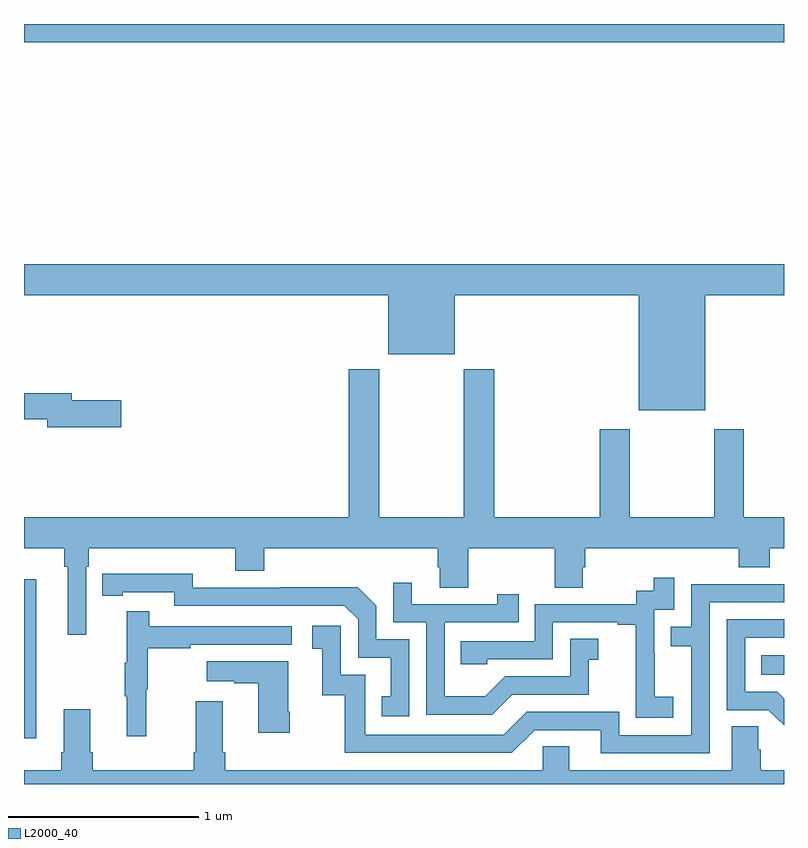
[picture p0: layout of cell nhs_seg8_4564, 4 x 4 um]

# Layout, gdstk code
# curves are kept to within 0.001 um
import gdstk
lib = gdstk.Library(unit=1e-6, precision=1e-09)
def R(c, l, rs):  # rectangles x0, y0, x1, y1
    for r in rs: c.add(gdstk.rectangle(r[:2], r[2:], *l))
def P(c, l, *ps):  # polygons
    for p in ps: c.add(gdstk.Polygon(p, *l))
L2000_40 = (2000, 40)

nhs_seg8_4564 = lib.new_cell('nhs_seg8_4564')
R(nhs_seg8_4564, L2000_40, [(387,1142.142,387.064,1142.977), (390.88,1142.474,391,1142.578), (387,1145.804,391,1145.9)])
P(nhs_seg8_4564, L2000_40, [(390.586,1144.472),(391,1144.472),(391,1144.636),(387,1144.636),(387,1144.472),(388.916,1144.472),(388.916,1144.163),(389.266,1144.163),(389.266,1144.472),(390.236,1144.472),(390.236,1143.866),(390.586,1143.866)],
  [(387.327,1143.044),(387.341,1143.044),(387.341,1143.14),(388.112,1143.14),(388.112,1143.023),(388.265,1143.023),(388.265,1143.14),(389.177,1143.14),(389.177,1143.042),(389.189,1143.042),(389.189,1142.932),(389.337,1142.932),(389.337,1143.14),(389.794,1143.14),(389.794,1142.932),(389.941,1142.932),(389.941,1143.042),(389.954,1143.042),(389.954,1143.14),(390.761,1143.14),(390.761,1143.041),(390.926,1143.041),(390.926,1143.14),(391,1143.14),(391,1143.304),(390.789,1143.304),(390.789,1143.766),(390.634,1143.766),(390.634,1143.304),(390.189,1143.304),(390.189,1143.766),(390.029,1143.766),(390.029,1143.304),(389.474,1143.304),(389.474,1144.084),(389.314,1144.084),(389.314,1143.304),(388.869,1143.304),(388.869,1144.084),(388.709,1144.084),(388.709,1143.304),(387,1143.304),(387,1143.14),(387.211,1143.14),(387.211,1143.044),(387.23,1143.044),(387.23,1142.685),(387.327,1142.685)],
  [(387.511,1143.92),(387.25,1143.92),(387.25,1143.956),(387,1143.956),(387,1143.82),(387.122,1143.82),(387.122,1143.778),(387.511,1143.778)],
  [(389.028,1142.661),(388.854,1142.661),(388.854,1142.838),(388.756,1142.936),(388.348,1142.936),(388.348,1142.934),(387.888,1142.934),(387.888,1143.007),(387.412,1143.006),(387.412,1142.89),(387.52,1142.89),(387.52,1142.91),(387.792,1142.91),(387.792,1142.838),(388.686,1142.838),(388.758,1142.766),(388.758,1142.565),(388.931,1142.565),(388.931,1142.361),(388.882,1142.361),(388.882,1142.256),(389.028,1142.256)],
  [(390.418,1142.359),(390.32,1142.359),(390.32,1142.588),(390.318,1142.588),(390.318,1142.817),(390.423,1142.817),(390.423,1142.986),(390.315,1142.986),(390.315,1142.916),(390.222,1142.916),(390.222,1142.847),(389.688,1142.847),(389.688,1142.652),(389.299,1142.652),(389.299,1142.529),(389.439,1142.529),(389.439,1142.556),(389.784,1142.556),(389.784,1142.751),(390.125,1142.751),(390.125,1142.739),(390.221,1142.739),(390.221,1142.455),(390.22,1142.455),(390.22,1142.249),(390.418,1142.249)],
  [(389.569,1142.37),(389.973,1142.37),(389.973,1142.555),(390.022,1142.555),(390.022,1142.665),(389.874,1142.665),(389.874,1142.466),(389.532,1142.466),(389.428,1142.362),(389.214,1142.362),(389.214,1142.751),(389.603,1142.751),(389.603,1142.899),(389.492,1142.899),(389.492,1142.847),(389.041,1142.847),(389.041,1142.959),(388.944,1142.959),(388.944,1142.751),(389.118,1142.751),(389.118,1142.265),(389.464,1142.265)],
  [(390.609,1142.856),(391,1142.856),(391,1142.952),(390.513,1142.952),(390.513,1142.727),(390.403,1142.727),(390.403,1142.626),(390.513,1142.626),(390.513,1142.157),(390.132,1142.157),(390.132,1142.28),(389.646,1142.28),(389.526,1142.16),(388.797,1142.16),(388.797,1142.475),(388.668,1142.475),(388.668,1142.734),(388.518,1142.734),(388.518,1142.613),(388.571,1142.613),(388.571,1142.367),(388.689,1142.367),(388.689,1142.064),(389.568,1142.064),(389.688,1142.184),(390.035,1142.184),(390.035,1142.061),(390.609,1142.061)],
  [(387.644,1142.4),(387.652,1142.4),(387.652,1142.614),(387.875,1142.614),(387.875,1142.634),(388.408,1142.634),(388.408,1142.73),(387.659,1142.73),(387.659,1142.809),(387.542,1142.809),(387.542,1142.537),(387.531,1142.537),(387.531,1142.363),(387.542,1142.363),(387.542,1142.151),(387.644,1142.151)],
  [(391,1142.349),(390.964,1142.385),(390.795,1142.385),(390.795,1142.67),(391,1142.67),(391,1142.766),(390.699,1142.766),(390.699,1142.289),(390.918,1142.289),(391,1142.208)],
  [(388.398,1142.281),(388.39,1142.281),(388.39,1142.545),(387.963,1142.545),(387.963,1142.441),(388.106,1142.441),(388.106,1142.431),(388.232,1142.431),(388.232,1142.169),(388.398,1142.169)],
  [(391,1141.972),(390.878,1141.972),(390.878,1142.081),(390.864,1142.081),(390.864,1142.204),(390.725,1142.204),(390.725,1141.972),(389.869,1141.972),(389.869,1142.099),(389.73,1142.099),(389.73,1141.972),(388.058,1141.972),(388.058,1142.068),(388.045,1142.068),(388.045,1142.335),(387.905,1142.335),(387.905,1142.068),(387.893,1142.068),(387.893,1141.972),(387.362,1141.972),(387.362,1142.068),(387.349,1142.068),(387.349,1142.293),(387.209,1142.293),(387.209,1142.068),(387.197,1142.068),(387.197,1141.972),(387,1141.972),(387,1141.9),(391,1141.9)])

lib.write_gds('nhs_seg8_4564.gds')
